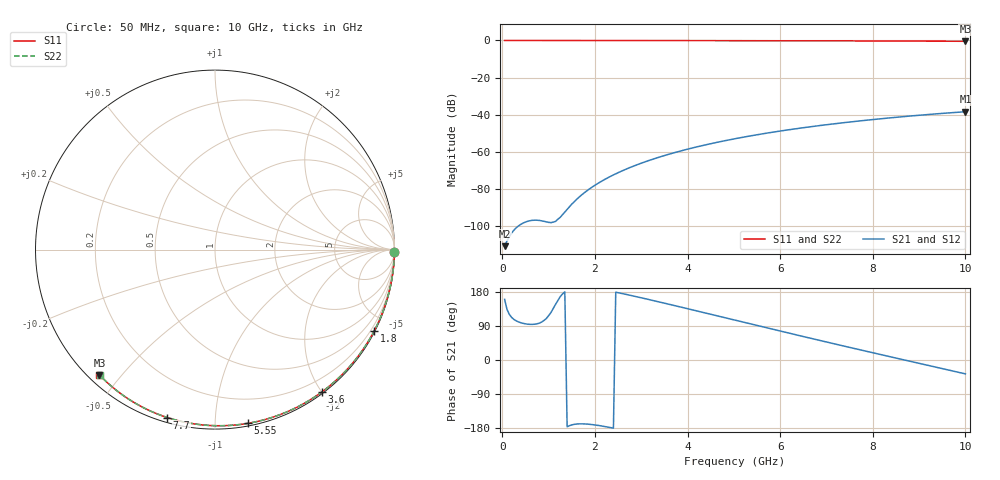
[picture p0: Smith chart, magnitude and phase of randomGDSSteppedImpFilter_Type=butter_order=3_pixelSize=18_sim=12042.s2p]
! freq	dB(S11)	phase(S11)	dB(S12)	phase(S12)
!  dB(S21)	phase(S21)	dB(S22)	phase(S22)
!S-par simulation data
#  GHz  S  DB  R 50
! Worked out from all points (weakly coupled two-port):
!   200 points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, 50 MHz to 10 GHz, reference 50 ohm
!   highest |S21| = -38.48 dB at 10 GHz (marker M1); lowest = -111.0 dB at 50 MHz (marker M2)
!   lowest |S11| = -0.4 dB at 10 GHz (marker M3), VSWR 38.66, Z = 1.54 - j21.9 ohm
!   |S11| at or under -10 dB: nowhere
!   |S22| runs from -0.4 to 0.0 dB; largest |S21 - S12| = 0
!   S11 on the Smith chart (normalised r, x): 50 MHz: open; 1.8 GHz: 0.04, -4.14; 3.6 GHz: 0.02, -2.00; 5.55 GHz: 0.02, -1.21; 7.7 GHz: 0.02, -0.75; 10 GHz: 0.03, -0.44
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0.05  -0.00 -0.8  -111.05 160.1  -111.05 160.1  -0.00 -0.8
0.45  -0.01 -6.9  -98.57 96.6  -98.57 96.6  -0.01 -6.9
0.9  -0.02 -13.7  -97.66 104.3  -97.66 104.3  -0.02 -13.7
1.75  -0.03 -26.4  -82.64 -168.5  -82.64 -168.5  -0.03 -26.4
1.8  -0.03 -27.1  -81.66 -168.8  -81.66 -168.8  -0.03 -27.1
1.9  -0.04 -28.6  -79.84 -169.9  -79.84 -169.9  -0.04 -28.6
2.05  -0.04 -30.8  -77.38 -172.2  -77.38 -172.2  -0.04 -30.8
2.25  -0.04 -33.8  -74.50 -176.4  -74.50 -176.4  -0.04 -33.7
2.45  -0.05 -36.7  -71.97 178.9  -71.97 178.9  -0.05 -36.6
2.65  -0.05 -39.6  -69.71 173.7  -69.71 173.7  -0.05 -39.5
3  -0.06 -44.6  -66.26 164.2  -66.26 164.2  -0.06 -44.6
3.4  -0.07 -50.3  -62.90 152.9  -62.90 152.9  -0.07 -50.2
3.6  -0.07 -53.1  -61.40 147.1  -61.40 147.1  -0.07 -53.0
4.3  -0.09 -62.7  -56.86 126.6  -56.86 126.6  -0.09 -62.7
5.05  -0.11 -72.8  -52.92 104.5  -52.92 104.5  -0.11 -72.7
5.55  -0.13 -79.3  -50.69 89.7  -50.69 89.7  -0.13 -79.2
6.1  -0.15 -86.3  -48.52 73.6  -48.52 73.6  -0.15 -86.2
6.7  -0.18 -93.8  -46.44 56.1  -46.44 56.1  -0.18 -93.7
7.7  -0.24 -105.9  -43.48 27.6  -43.48 27.6  -0.24 -105.8
8.35  -0.29 -113.6  -41.84 9.3  -41.84 9.3  -0.29 -113.5
9.15  -0.36 -122.9  -40.07 -13.0  -40.07 -13.0  -0.36 -122.8
10  -0.45 -132.7  -38.48 -36.6  -38.48 -36.6  -0.45 -132.6
